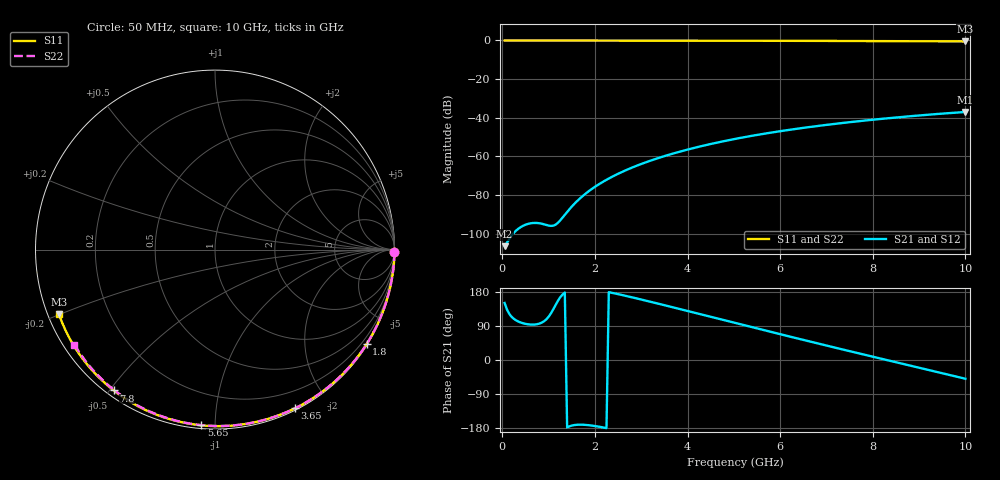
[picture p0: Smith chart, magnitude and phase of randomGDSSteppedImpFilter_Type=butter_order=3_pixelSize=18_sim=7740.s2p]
! freq	dB(S11)	phase(S11)	dB(S12)	phase(S12)
!  dB(S21)	phase(S21)	dB(S22)	phase(S22)
!S-par simulation data
#  GHz  S  DB  R 50
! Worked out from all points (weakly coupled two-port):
!   200 points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, 50 MHz to 10 GHz, reference 50 ohm
!   highest |S21| = -37.00 dB at 10 GHz (marker M1); lowest = -106.4 dB at 50 MHz (marker M2)
!   lowest |S11| = -0.5 dB at 10 GHz (marker M3), VSWR 32.88, Z = 1.58 - j9.92 ohm
!   |S11| at or under -10 dB: nowhere
!   |S22| runs from -0.5 to 0.0 dB; largest |S21 - S12| = 0
!   S11 on the Smith chart (normalised r, x): 50 MHz: open; 1.8 GHz: 0.03, -3.49; 3.65 GHz: 0.02, -1.63; 5.65 GHz: 0.02, -0.93; 7.8 GHz: 0.02, -0.51; 10 GHz: 0.03, -0.20
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0.05  -0.00 -0.9  -106.42 150.5  -106.42 150.5  -0.00 -0.8
0.45  -0.01 -8.1  -95.87 96.9  -95.87 96.9  -0.01 -7.6
0.85  -0.02 -15.3  -94.79 98.5  -94.79 98.5  -0.02 -14.3
1.3  -0.03 -23.2  -91.67 172.7  -91.67 172.7  -0.03 -21.8
1.75  -0.04 -31.1  -80.20 -170.9  -80.20 -170.9  -0.04 -29.2
1.8  -0.04 -32.0  -79.22 -171.3  -79.22 -171.3  -0.04 -30.0
2.1  -0.05 -37.2  -74.19 -176.3  -74.19 -176.3  -0.04 -34.8
2.3  -0.05 -40.6  -71.42 179.1  -71.42 179.1  -0.05 -38.1
2.5  -0.06 -44.0  -68.98 173.8  -68.98 173.8  -0.05 -41.3
2.9  -0.07 -50.8  -64.83 162.5  -64.83 162.5  -0.06 -47.6
3.4  -0.08 -59.1  -60.59 147.7  -60.59 147.7  -0.07 -55.4
3.65  -0.09 -63.2  -58.76 140.1  -58.76 140.1  -0.08 -59.2
4.3  -0.10 -73.6  -54.67 120.2  -54.67 120.2  -0.10 -69.0
5.05  -0.13 -85.3  -50.83 97.2  -50.83 97.2  -0.12 -80.0
5.65  -0.16 -94.4  -48.27 78.8  -48.27 78.8  -0.15 -88.5
6.15  -0.18 -101.9  -46.40 63.6  -46.40 63.6  -0.17 -95.4
6.7  -0.21 -109.9  -44.58 47.0  -44.58 47.0  -0.20 -102.9
7.25  -0.25 -117.9  -42.96 30.7  -42.96 30.7  -0.23 -110.2
7.8  -0.30 -125.7  -41.50 14.5  -41.50 14.5  -0.27 -117.5
8.35  -0.34 -133.6  -40.19 -1.5  -40.19 -1.5  -0.32 -124.6
9.2  -0.43 -145.8  -38.41 -26.1  -38.41 -26.1  -0.40 -135.6
10  -0.53 -157.5  -37.00 -49.5  -37.00 -49.5  -0.49 -146.0
